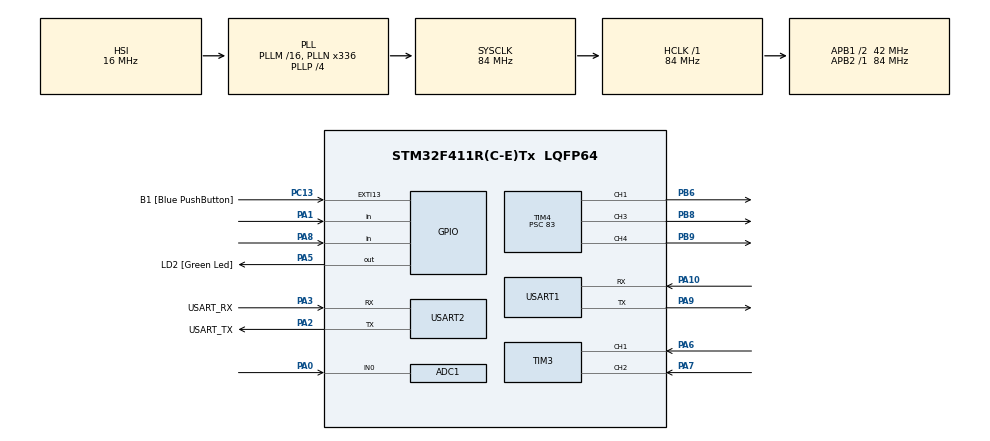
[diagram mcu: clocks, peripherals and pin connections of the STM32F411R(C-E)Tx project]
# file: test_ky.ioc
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ADC1.Channel-0\#ChannelRegularConversion=ADC_CHANNEL_0
ADC1.NbrOfConversionFlag=1
ADC1.Rank-0\#ChannelRegularConversion=1
ADC1.SamplingTime-0\#ChannelRegularConversion=ADC_SAMPLETIME_84CYCLES
ADC1.master=1
Mcu.Family=STM32F4
Mcu.Name=STM32F411R(C-E)Tx
Mcu.Package=LQFP64
NVIC.PriorityGroup=NVIC_PRIORITYGROUP_0
NVIC.USART1_IRQn=true\:0\:0\:false\:false\:true\:true\:true\:true
PA0-WKUP.Signal=ADCx_IN0
PA1.Signal=GPIO_Input
PA10.Mode=Asynchronous
PA10.Signal=USART1_RX
PA13.GPIO_Label=TMS
PA13.Mode=Serial_Wire
PA13.Signal=SYS_JTMS-SWDIO
PA14.GPIO_Label=TCK
PA14.Mode=Serial_Wire
PA14.Signal=SYS_JTCK-SWCLK
PA2.GPIO_Label=USART_TX
PA2.Mode=Asynchronous
PA2.Signal=USART2_TX
PA3.GPIO_Label=USART_RX
PA3.Mode=Asynchronous
PA3.Signal=USART2_RX
PA5.GPIO_Label=LD2 [Green Led]
PA5.Signal=GPIO_Output
PA6.Signal=S_TIM3_CH1
PA7.Signal=S_TIM3_CH2
PA8.GPIO_PuPd=GPIO_PULLUP
PA8.Signal=GPIO_Input
PA9.Mode=Asynchronous
PA9.Signal=USART1_TX
PB3.GPIO_Label=SWO
PB3.Signal=SYS_JTDO-SWO
PB6.Signal=S_TIM4_CH1
PB8.Signal=S_TIM4_CH3
PB9.Signal=S_TIM4_CH4
PC13-ANTI_TAMP.GPIO_Label=B1 [Blue PushButton]
PC13-ANTI_TAMP.GPIO_ModeDefaultEXTI=GPIO_MODE_IT_FALLING
PC13-ANTI_TAMP.Signal=GPXTI13
PC14-OSC32_IN.Mode=LSE-External-Oscillator
PC14-OSC32_IN.Signal=RCC_OSC32_IN
PC15-OSC32_OUT.Mode=LSE-External-Oscillator
PC15-OSC32_OUT.Signal=RCC_OSC32_OUT
PH0\ -\ OSC_IN.Mode=HSE-External-Clock-Source
PH0\ -\ OSC_IN.Signal=RCC_OSC_IN
PH1\ -\ OSC_OUT.Mode=HSE-External-Clock-Source
PH1\ -\ OSC_OUT.Signal=RCC_OSC_OUT
ProjectManager.HeapSize=0x200
ProjectManager.StackSize=0x400
ProjectManager.TargetToolchain=STM32CubeIDE
RCC.48MHZClocksFreq_Value=84000000
RCC.AHBFreq_Value=84000000
RCC.APB1CLKDivider=RCC_HCLK_DIV2
RCC.APB1Freq_Value=42000000
RCC.APB1TimFreq_Value=84000000
RCC.APB2Freq_Value=84000000
RCC.APB2TimFreq_Value=84000000
RCC.CortexFreq_Value=84000000
RCC.FLatency-AdvancedSettings=FLASH_LATENCY_2
RCC.HCLKFreq_Value=84000000
RCC.HSE_VALUE=8000000
RCC.HSI_VALUE=16000000
RCC.PLLN=336
RCC.PLLP=RCC_PLLP_DIV4
RCC.SYSCLKFreq_VALUE=84000000
RCC.SYSCLKSource=RCC_SYSCLKSOURCE_PLLCLK
RCC.VCOOutputFreq_Value=336000000
SH.ADCx_IN0.0=ADC1_IN0,IN0
SH.S_TIM3_CH1.0=TIM3_CH1,Encoder_Interface
SH.S_TIM3_CH2.0=TIM3_CH2,Encoder_Interface
SH.S_TIM4_CH1.0=TIM4_CH1,PWM Generation1 CH1
SH.S_TIM4_CH3.0=TIM4_CH3,PWM Generation3 CH3
SH.S_TIM4_CH4.0=TIM4_CH4,PWM Generation4 CH4
TIM3.EncoderMode=TIM_ENCODERMODE_TI12
TIM3.IC1Filter=15
TIM4.Channel-PWM\ Generation1\ CH1=TIM_CHANNEL_1
TIM4.Channel-PWM\ Generation3\ CH3=TIM_CHANNEL_3
TIM4.Channel-PWM\ Generation4\ CH4=TIM_CHANNEL_4
TIM4.Prescaler=83
USART1.VirtualMode=VM_ASYNC
USART2.VirtualMode=VM_ASYNC
board=NUCLEO-F411RE

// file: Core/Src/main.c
/* USER CODE BEGIN Header */
/**
  ******************************************************************************
  * @file           : main.c
  * @brief          : Main program body
  ******************************************************************************
  * @attention
  *
  * Copyright (c) 2026 STMicroelectronics.
  * All rights reserved.
  *
  * This software is licensed under terms that can be found in the LICENSE file
  * in the root directory of this software component.
  * If no LICENSE file comes with this software, it is provided AS-IS.
  *
  ******************************************************************************
  */
/* USER CODE END Header */
#include "main.h"

/* USER CODE BEGIN Includes */
#include <stdio.h>
#include <stdint.h>
#include <string.h>
#include <stdlib.h>
/* USER CODE END Includes */

/* USER CODE BEGIN PD */
#define PWM_MAX              999U
/* บนไฟ 3.3V ขา R (Vf ~2.0V) สว่างกว่า G (Vf ~3.0V)
   จึงหรี่ R ลงตอนผสมสีเหลือง เพื่อไม่ให้เพี้ยนเป็นสีส้ม/แดง */
#define YELLOW_R_DUTY        250U
#define YELLOW_G_DUTY        999U
#define MIC_SAMPLE_WINDOW_MS 50U     /* เก็บ Peak-to-Peak ทุก 50 ms */
#define ALERT_BLINK_MS       250U    /* กระพริบแดงทุก 250 ms */
#define ALERT_HOLD_MS        1200U   /* ค้างสถานะเตือนเมื่อเสียงดังเกินเกณฑ์ */
#define WARN_HOLD_MS         600U    /* ค้างสถานะเริ่มดังกันไฟกระพริบถี่ */
#define DEFAULT_ALERT_TH     400     /* เกณฑ์เสียงดังเกินกำหนดเริ่มต้น (0-4095) */
#define MIN_ALERT_TH         100
#define MAX_ALERT_TH         3000
#define ENC_STEP_TH          25      /* หมุน KY-040 1 กิ๊ก ปรับเกณฑ์ทีละ 25 */
/* ตั้งเป็น 1 ถ้าปรับ pot สีฟ้าบน KY-037 แล้วและอยากให้ D0=0 ทริกเกอร์แดงด้วย */
#define USE_MIC_D0_TRIGGER   0
/* USER CODE END PD */

ADC_HandleTypeDef hadc1;

TIM_HandleTypeDef htim3;
TIM_HandleTypeDef htim4;

UART_HandleTypeDef huart1;
UART_HandleTypeDef huart2;

/* USER CODE BEGIN PV */
static uint8_t  u1_rx_byte = 0;
static char     u1_rx_buf[64];
static uint16_t u1_rx_idx = 0;
static volatile uint8_t u1_cmd_ready = 0;
/* USER CODE END PV */

void SystemClock_Config(void);
static void MX_GPIO_Init(void);
static void MX_USART2_UART_Init(void);
static void MX_ADC1_Init(void);
static void MX_TIM3_Init(void);
static void MX_TIM4_Init(void);
static void MX_USART1_UART_Init(void);

/* USER CODE BEGIN 0 */
typedef enum {
  FOCUS_QUIET = 0,
  FOCUS_WARN,
  FOCUS_ALERT
} FocusState_t;
static void RGB_Set(uint16_t r, uint16_t g, uint16_t b)
{
  if (r > PWM_MAX) r = PWM_MAX;
  if (g > PWM_MAX) g = PWM_MAX;
  if (b > PWM_MAX) b = PWM_MAX;
  __HAL_TIM_SET_COMPARE(&htim4, TIM_CHANNEL_1, r); /* PB6: R */
  __HAL_TIM_SET_COMPARE(&htim4, TIM_CHANNEL_3, g); /* PB8: G */
  __HAL_TIM_SET_COMPARE(&htim4, TIM_CHANNEL_4, b); /* PB9: B */
}
static uint16_t Mic_ReadPeakToPeak(uint32_t window_ms)
{
  uint32_t t_start = HAL_GetTick();
  uint16_t min_val = 4095;
  uint16_t max_val = 0;
  while ((HAL_GetTick() - t_start) < window_ms)
  {
    HAL_ADC_Start(&hadc1);
    if (HAL_ADC_PollForConversion(&hadc1, 5) == HAL_OK)
    {
      uint16_t val = (uint16_t)HAL_ADC_GetValue(&hadc1);
      if (val < min_val) min_val = val;
      if (val > max_val) max_val = val;
    }
    HAL_ADC_Stop(&hadc1);
  }
  return (max_val >= min_val) ? (max_val - min_val) : 0;
}
/* USER CODE END 0 */

int main(void)
{

  /* MCU Configuration--------------------------------------------------------*/

  /* Reset of all peripherals, Initializes the Flash interface and the Systick. */
  HAL_Init();

  /* Configure the system clock */
  SystemClock_Config();

  /* Initialize all configured peripherals */
  MX_GPIO_Init();
  MX_USART2_UART_Init();
  MX_ADC1_Init();
  MX_TIM3_Init();
  MX_TIM4_Init();
  MX_USART1_UART_Init();
  /* USER CODE BEGIN 2 */
  HAL_TIM_Encoder_Start(&htim3, TIM_CHANNEL_ALL);
    HAL_TIM_PWM_Start(&htim4, TIM_CHANNEL_1);
    HAL_TIM_PWM_Start(&htim4, TIM_CHANNEL_3);
    HAL_TIM_PWM_Start(&htim4, TIM_CHANNEL_4);
    RGB_Set(0, 0, 0);
    int32_t alert_threshold = DEFAULT_ALERT_TH;
    int32_t warn_threshold = alert_threshold / 2;
    uint16_t prev_enc_cnt = (uint16_t)__HAL_TIM_GET_COUNTER(&htim3);
    int32_t enc_accum = 0;
    uint8_t prev_sw = GPIO_PIN_SET;
    uint32_t last_sw_ms = 0;
    uint32_t alert_until_ms = 0;
    uint32_t warn_until_ms = 0;
    uint32_t last_blink_ms = 0;
    uint8_t blink_on = 0;
    uint32_t last_log_ms = 0;
    FocusState_t state = FOCUS_QUIET;
    FocusState_t prev_state = FOCUS_QUIET;
    HAL_UART_Receive_IT(&huart1, &u1_rx_byte, 1);
      uint32_t last_esp_tx_ms = 0;
  /* USER CODE END 2 */

  /* Infinite loop */
  /* USER CODE BEGIN WHILE */
  while (1)
  {
	  /* 1. อ่าน KY-040 หมุนปรับเกณฑ์เสียง */
	      uint16_t curr_enc_cnt = (uint16_t)__HAL_TIM_GET_COUNTER(&htim3);
	      int16_t enc_delta = (int16_t)(uint16_t)(curr_enc_cnt - prev_enc_cnt);
	      prev_enc_cnt = curr_enc_cnt;
	      if (enc_delta != 0)
	      {
	        enc_accum += enc_delta;
	        int32_t detents = enc_accum / 2; /* จาก test_ky_040: 1 กิ๊ก = 2 counts */
	        enc_accum %= 2;
	        if (detents != 0)
	        {
	          alert_threshold += detents * ENC_STEP_TH;
	          if (alert_threshold < MIN_ALERT_TH) alert_threshold = MIN_ALERT_TH;
	          if (alert_threshold > MAX_ALERT_TH) alert_threshold = MAX_ALERT_TH;
	          warn_threshold = alert_threshold / 2;
	        }
	      }
	      /* 2. อ่านปุ่ม SW (PA8, Active-Low) -> กดเพื่อรีเซ็ตเกณฑ์กลับค่าเริ่มต้น */
	      uint8_t curr_sw = HAL_GPIO_ReadPin(GPIOA, GPIO_PIN_8);
	      uint32_t now = HAL_GetTick();
	      if (prev_sw == GPIO_PIN_SET && curr_sw == GPIO_PIN_RESET && (now - last_sw_ms) > 200U)
	      {
	        last_sw_ms = now;
	        alert_threshold = DEFAULT_ALERT_TH;
	        warn_threshold = alert_threshold / 2;
	        /* กระพริบสีน้ำเงินสั้นๆ ยืนยันการกดปุ่ม */
	        RGB_Set(0, 0, PWM_MAX);
	        HAL_Delay(120);
	        char reset_msg[64];
	        int n = snprintf(reset_msg, sizeof(reset_msg),
	                         "[KY-040 SW] Reset alert_th -> %ld\r\n", (long)alert_threshold);
	        HAL_UART_Transmit(&huart2, (uint8_t *)reset_msg, (uint16_t)n, 100);
	      }
	      prev_sw = curr_sw;
	      /* 3. อ่าน KY-037: A0 (Peak-to-Peak 50 ms) และ D0 (PA1) */
	      uint16_t amp = Mic_ReadPeakToPeak(MIC_SAMPLE_WINDOW_MS);
	      uint8_t d0 = (uint8_t)HAL_GPIO_ReadPin(GPIOA, GPIO_PIN_1);
	      now = HAL_GetTick();
	      /* 4. ตัดสินสถานะ Focus Mode พร้อม Hold Time */
	      uint8_t is_over_alert = (amp >= (uint16_t)alert_threshold)
	                              || (USE_MIC_D0_TRIGGER && d0 == GPIO_PIN_RESET);
	      uint8_t is_warn = (amp >= (uint16_t)warn_threshold);
	      if (is_over_alert)
	      {
	        alert_until_ms = now + ALERT_HOLD_MS;
	        warn_until_ms = now + WARN_HOLD_MS;
	      }
	      else if (is_warn)
	      {
	        warn_until_ms = now + WARN_HOLD_MS;
	      }
	      if ((int32_t)(alert_until_ms - now) > 0)
	      {
	        state = FOCUS_ALERT;
	      }
	      else if ((int32_t)(warn_until_ms - now) > 0)
	      {
	        state = FOCUS_WARN;
	      }
	      else
	      {
	        state = FOCUS_QUIET;
	      }
	      /* 5. ขับสี KY-009 RGB LED */
	      switch (state)
	      {
	        case FOCUS_QUIET:
	          blink_on = 0;
	          RGB_Set(0, PWM_MAX, 0); /* เขียว */
	          break;
	        case FOCUS_WARN:
	          blink_on = 0;
	          RGB_Set(YELLOW_R_DUTY, YELLOW_G_DUTY, 0); /* เหลือง */
	          break;
	        case FOCUS_ALERT:
	          if (prev_state != FOCUS_ALERT)
	          {
	            blink_on = 1;
	            last_blink_ms = now;
	          }
	          else if ((now - last_blink_ms) >= ALERT_BLINK_MS)
	          {
	            last_blink_ms = now;
	            blink_on = !blink_on;
	          }
	          RGB_Set(blink_on ? PWM_MAX : 0, 0, 0); /* แดงกระพริบเตือน */
	          break;
	      }
	      prev_state = state;
	      /* 6. แสดงผล Debug ผ่าน USART2 (115200 baud) ทุก 200 ms */
	      if ((now - last_log_ms) >= 200U)
	      {
	        last_log_ms = now;
	        const char *state_str = (state == FOCUS_QUIET) ? "QUIET(GREEN)" :
	                                (state == FOCUS_WARN)  ? "LOUD(YELLOW)" :
	                                                         "ALERT(RED_BLINK)";
	        char log_buf[128];
	        int len = snprintf(log_buf, sizeof(log_buf),
	                           "amp=%4u | d0=%u | warn_th=%ld | alert_th=%ld | state=%s\r\n",
	                           amp, d0, (long)warn_threshold, (long)alert_threshold, state_str);
	        HAL_UART_Transmit(&huart2, (uint8_t *)log_buf, (uint16_t)len, 100);
	      }
	      /* 7. รับคำสั่งจาก ESP32-S3 (USART1) */
	          if (u1_cmd_ready)
	          {
	            if (strcmp(u1_rx_buf, "PING") == 0)
	            {
	              const char *pong = "PONG\n";
	              HAL_UART_Transmit(&huart1, (uint8_t *)pong, (uint16_t)strlen(pong), 50);
	            }
	            else if (strncmp(u1_rx_buf, "SET_TH,", 7) == 0)
	            {
	              int32_t new_th = atoi(&u1_rx_buf[7]);
	              if (new_th < MIN_ALERT_TH) new_th = MIN_ALERT_TH;
	              if (new_th > MAX_ALERT_TH) new_th = MAX_ALERT_TH;
	              alert_threshold = new_th;
	              warn_threshold = alert_threshold / 2;
	              char ack[48];
	              int alen = snprintf(ack, sizeof(ack), "ACK,SET_TH,%ld\n", (long)alert_threshold);
	              HAL_UART_Transmit(&huart1, (uint8_t *)ack, (uint16_t)alen, 50);
	            }
	            u1_cmd_ready = 0;
	          }
	          /* 8. ส่งสถานะ Focus Mode ไป ESP32-S3 ทุก 500 ms */
	          if ((now - last_esp_tx_ms) >= 500U)
	          {
	            last_esp_tx_ms = now;
	            char esp_buf[64];
	            int elen = snprintf(esp_buf, sizeof(esp_buf),
	                                "STAT,%u,%ld,%ld,%d\n",
	                                amp, (long)warn_threshold, (long)alert_threshold, (int)state);
	            HAL_UART_Transmit(&huart1, (uint8_t *)esp_buf, (uint16_t)elen, 50);
	          }
    /* USER CODE END WHILE */

  }
}

void SystemClock_Config(void)
{
  RCC_OscInitTypeDef RCC_OscInitStruct = {0};
  RCC_ClkInitTypeDef RCC_ClkInitStruct = {0};

  /** Configure the main internal regulator output voltage
  */
  __HAL_RCC_PWR_CLK_ENABLE();
  __HAL_PWR_VOLTAGESCALING_CONFIG(PWR_REGULATOR_VOLTAGE_SCALE1);

  /** Initializes the RCC Oscillators according to the specified parameters
  * in the RCC_OscInitTypeDef structure.
  */
  RCC_OscInitStruct.OscillatorType = RCC_OSCILLATORTYPE_HSI;
  RCC_OscInitStruct.HSIState = RCC_HSI_ON;
  RCC_OscInitStruct.HSICalibrationValue = RCC_HSICALIBRATION_DEFAULT;
  RCC_OscInitStruct.PLL.PLLState = RCC_PLL_ON;
  RCC_OscInitStruct.PLL.PLLSource = RCC_PLLSOURCE_HSI;
  RCC_OscInitStruct.PLL.PLLM = 16;
  RCC_OscInitStruct.PLL.PLLN = 336;
  RCC_OscInitStruct.PLL.PLLP = RCC_PLLP_DIV4;
  RCC_OscInitStruct.PLL.PLLQ = 4;
  if (HAL_RCC_OscConfig(&RCC_OscInitStruct) != HAL_OK)
  {
    Error_Handler();
  }

  /** Initializes the CPU, AHB and APB buses clocks
  */
  RCC_ClkInitStruct.ClockType = RCC_CLOCKTYPE_HCLK|RCC_CLOCKTYPE_SYSCLK
                              |RCC_CLOCKTYPE_PCLK1|RCC_CLOCKTYPE_PCLK2;
  RCC_ClkInitStruct.SYSCLKSource = RCC_SYSCLKSOURCE_PLLCLK;
  RCC_ClkInitStruct.AHBCLKDivider = RCC_SYSCLK_DIV1;
  RCC_ClkInitStruct.APB1CLKDivider = RCC_HCLK_DIV2;
  RCC_ClkInitStruct.APB2CLKDivider = RCC_HCLK_DIV1;

  if (HAL_RCC_ClockConfig(&RCC_ClkInitStruct, FLASH_LATENCY_2) != HAL_OK)
  {
    Error_Handler();
  }
}

static void MX_ADC1_Init(void)
{

  ADC_ChannelConfTypeDef sConfig = {0};

  /** Configure the global features of the ADC (Clock, Resolution, Data Alignment and number of conversion)
  */
  hadc1.Instance = ADC1;
  hadc1.Init.ClockPrescaler = ADC_CLOCK_SYNC_PCLK_DIV4;
  hadc1.Init.Resolution = ADC_RESOLUTION_12B;
  hadc1.Init.ScanConvMode = DISABLE;
  hadc1.Init.ContinuousConvMode = DISABLE;
  hadc1.Init.DiscontinuousConvMode = DISABLE;
  hadc1.Init.ExternalTrigConvEdge = ADC_EXTERNALTRIGCONVEDGE_NONE;
  hadc1.Init.ExternalTrigConv = ADC_SOFTWARE_START;
  hadc1.Init.DataAlign = ADC_DATAALIGN_RIGHT;
  hadc1.Init.NbrOfConversion = 1;
  hadc1.Init.DMAContinuousRequests = DISABLE;
  hadc1.Init.EOCSelection = ADC_EOC_SINGLE_CONV;
  if (HAL_ADC_Init(&hadc1) != HAL_OK)
  {
    Error_Handler();
  }

  /** Configure for the selected ADC regular channel its corresponding rank in the sequencer and its sample time.
  */
  sConfig.Channel = ADC_CHANNEL_0;
  sConfig.Rank = 1;
  sConfig.SamplingTime = ADC_SAMPLETIME_84CYCLES;
  if (HAL_ADC_ConfigChannel(&hadc1, &sConfig) != HAL_OK)
  {
    Error_Handler();
  }

}

static void MX_TIM3_Init(void)
{

  TIM_Encoder_InitTypeDef sConfig = {0};
  TIM_MasterConfigTypeDef sMasterConfig = {0};

  htim3.Instance = TIM3;
  htim3.Init.Prescaler = 0;
  htim3.Init.CounterMode = TIM_COUNTERMODE_UP;
  htim3.Init.Period = 65535;
  htim3.Init.ClockDivision = TIM_CLOCKDIVISION_DIV1;
  htim3.Init.AutoReloadPreload = TIM_AUTORELOAD_PRELOAD_DISABLE;
  sConfig.EncoderMode = TIM_ENCODERMODE_TI12;
  sConfig.IC1Polarity = TIM_ICPOLARITY_RISING;
  sConfig.IC1Selection = TIM_ICSELECTION_DIRECTTI;
  sConfig.IC1Prescaler = TIM_ICPSC_DIV1;
  sConfig.IC1Filter = 15;
  sConfig.IC2Polarity = TIM_ICPOLARITY_RISING;
  sConfig.IC2Selection = TIM_ICSELECTION_DIRECTTI;
  sConfig.IC2Prescaler = TIM_ICPSC_DIV1;
  sConfig.IC2Filter = 0;
  if (HAL_TIM_Encoder_Init(&htim3, &sConfig) != HAL_OK)
  {
    Error_Handler();
  }
  sMasterConfig.MasterOutputTrigger = TIM_TRGO_RESET;
  sMasterConfig.MasterSlaveMode = TIM_MASTERSLAVEMODE_DISABLE;
  if (HAL_TIMEx_MasterConfigSynchronization(&htim3, &sMasterConfig) != HAL_OK)
  {
    Error_Handler();
  }

}

static void MX_TIM4_Init(void)
{

  TIM_MasterConfigTypeDef sMasterConfig = {0};
  TIM_OC_InitTypeDef sConfigOC = {0};

  htim4.Instance = TIM4;
  htim4.Init.Prescaler = 83;
  htim4.Init.CounterMode = TIM_COUNTERMODE_UP;
  htim4.Init.Period = 65535;
  htim4.Init.ClockDivision = TIM_CLOCKDIVISION_DIV1;
  htim4.Init.AutoReloadPreload = TIM_AUTORELOAD_PRELOAD_DISABLE;
  if (HAL_TIM_PWM_Init(&htim4) != HAL_OK)
  {
    Error_Handler();
  }
  sMasterConfig.MasterOutputTrigger = TIM_TRGO_RESET;
  sMasterConfig.MasterSlaveMode = TIM_MASTERSLAVEMODE_DISABLE;
  if (HAL_TIMEx_MasterConfigSynchronization(&htim4, &sMasterConfig) != HAL_OK)
  {
    Error_Handler();
  }
  sConfigOC.OCMode = TIM_OCMODE_PWM1;
  sConfigOC.Pulse = 0;
  sConfigOC.OCPolarity = TIM_OCPOLARITY_HIGH;
  sConfigOC.OCFastMode = TIM_OCFAST_DISABLE;
  if (HAL_TIM_PWM_ConfigChannel(&htim4, &sConfigOC, TIM_CHANNEL_1) != HAL_OK)
  {
    Error_Handler();
  }
  if (HAL_TIM_PWM_ConfigChannel(&htim4, &sConfigOC, TIM_CHANNEL_3) != HAL_OK)
  {
    Error_Handler();
  }
  if (HAL_TIM_PWM_ConfigChannel(&htim4, &sConfigOC, TIM_CHANNEL_4) != HAL_OK)
  {
    Error_Handler();
  }
  HAL_TIM_MspPostInit(&htim4);

}

static void MX_USART1_UART_Init(void)
{

  huart1.Instance = USART1;
  huart1.Init.BaudRate = 115200;
  huart1.Init.WordLength = UART_WORDLENGTH_8B;
  huart1.Init.StopBits = UART_STOPBITS_1;
  huart1.Init.Parity = UART_PARITY_NONE;
  huart1.Init.Mode = UART_MODE_TX_RX;
  huart1.Init.HwFlowCtl = UART_HWCONTROL_NONE;
  huart1.Init.OverSampling = UART_OVERSAMPLING_16;
  if (HAL_UART_Init(&huart1) != HAL_OK)
  {
    Error_Handler();
  }

}

static void MX_USART2_UART_Init(void)
{

  huart2.Instance = USART2;
  huart2.Init.BaudRate = 115200;
  huart2.Init.WordLength = UART_WORDLENGTH_8B;
  huart2.Init.StopBits = UART_STOPBITS_1;
  huart2.Init.Parity = UART_PARITY_NONE;
  huart2.Init.Mode = UART_MODE_TX_RX;
  huart2.Init.HwFlowCtl = UART_HWCONTROL_NONE;
  huart2.Init.OverSampling = UART_OVERSAMPLING_16;
  if (HAL_UART_Init(&huart2) != HAL_OK)
  {
    Error_Handler();
  }

}

static void MX_GPIO_Init(void)
{
  GPIO_InitTypeDef GPIO_InitStruct = {0};

  /* GPIO Ports Clock Enable */
  __HAL_RCC_GPIOC_CLK_ENABLE();
  __HAL_RCC_GPIOH_CLK_ENABLE();
  __HAL_RCC_GPIOA_CLK_ENABLE();
  __HAL_RCC_GPIOB_CLK_ENABLE();

  /*Configure GPIO pin Output Level */
  HAL_GPIO_WritePin(LD2_GPIO_Port, LD2_Pin, GPIO_PIN_RESET);

  /*Configure GPIO pin : B1_Pin */
  GPIO_InitStruct.Pin = B1_Pin;
  GPIO_InitStruct.Mode = GPIO_MODE_IT_FALLING;
  GPIO_InitStruct.Pull = GPIO_NOPULL;
  HAL_GPIO_Init(B1_GPIO_Port, &GPIO_InitStruct);

  /*Configure GPIO pin : PA1 */
  GPIO_InitStruct.Pin = GPIO_PIN_1;
  GPIO_InitStruct.Mode = GPIO_MODE_INPUT;
  GPIO_InitStruct.Pull = GPIO_NOPULL;
  HAL_GPIO_Init(GPIOA, &GPIO_InitStruct);

  /*Configure GPIO pin : LD2_Pin */
  GPIO_InitStruct.Pin = LD2_Pin;
  GPIO_InitStruct.Mode = GPIO_MODE_OUTPUT_PP;
  GPIO_InitStruct.Pull = GPIO_NOPULL;
  GPIO_InitStruct.Speed = GPIO_SPEED_FREQ_LOW;
  HAL_GPIO_Init(LD2_GPIO_Port, &GPIO_InitStruct);

  /*Configure GPIO pin : PA8 */
  GPIO_InitStruct.Pin = GPIO_PIN_8;
  GPIO_InitStruct.Mode = GPIO_MODE_INPUT;
  GPIO_InitStruct.Pull = GPIO_PULLUP;
  HAL_GPIO_Init(GPIOA, &GPIO_InitStruct);

}

/* USER CODE BEGIN 4 */
void HAL_UART_RxCpltCallback(UART_HandleTypeDef *huart)
{
  if (huart->Instance == USART1)
  {
    if (!u1_cmd_ready)
    {
      if (u1_rx_byte == '\n')
      {
        u1_rx_buf[u1_rx_idx] = '\0';
        u1_rx_idx = 0;
        u1_cmd_ready = 1;
      }
      else if (u1_rx_byte != '\r')
      {
        if (u1_rx_idx < (sizeof(u1_rx_buf) - 1U))
        {
          u1_rx_buf[u1_rx_idx++] = (char)u1_rx_byte;
        }
        else
        {
          u1_rx_idx = 0;
        }
      }
    }
    HAL_UART_Receive_IT(&huart1, &u1_rx_byte, 1);
  }
}
void HAL_UART_ErrorCallback(UART_HandleTypeDef *huart)
{
  if (huart->Instance == USART1)
  {
    u1_rx_idx = 0;
    HAL_UART_Receive_IT(&huart1, &u1_rx_byte, 1);
  }
}
/* USER CODE END 4 */

void Error_Handler(void)
{
  __disable_irq();
  while (1)
  {
  }
}
